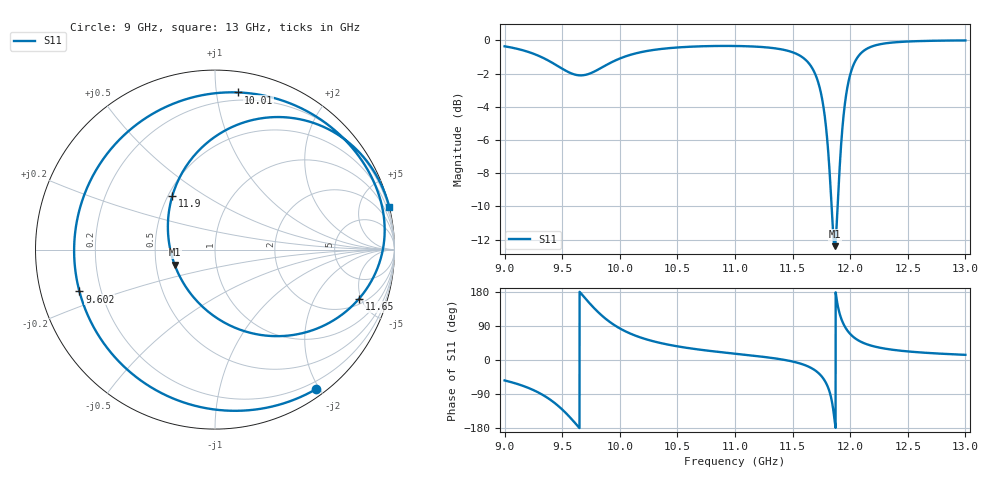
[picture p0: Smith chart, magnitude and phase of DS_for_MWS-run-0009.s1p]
! TOUCHSTONE file generated by CST DESIGN STUDIO
! Date and time: Tue Feb  4 14:18:33 2025
! Project name: C:\Work\MatlabApps\UnitCellOptimizationMatlab\CST\unitcell.cst
! Tree item: Tasks\Sweep1\SPara1\S-Parameters
! Header version: 2024
! Port assignment regex: !\s*Touchstone port\s*([0-9]+)\s*=\s*(CST MWS port|CST DES external port|CST DES block port)\s*(.+)\s* \(\"(.*)\"\)(\s*mode\s*([0-9]+))?.*
! Touchstone port assignment:
! Touchstone port 1 = CST DES external port 1 ("")
# GHz S MA R 50
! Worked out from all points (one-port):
!   4001 points, 9 GHz to 13 GHz, reference 50 ohm
!   lowest |S11| = -12.4 dB at 11.87 GHz (marker M1), VSWR 1.63, Z = 31.2 - j5.55 ohm
!   |S11| at or under -10 dB: 11.83845 GHz to 11.89085 GHz (52.39 MHz wide, 0.442 % of centre)
!   S11 on the Smith chart (normalised r, x): 9 GHz: 0.10, -1.96; 9.602 GHz: 0.12, -0.15; 10.01 GHz: 0.14, +1.15; 11.65 GHz: 2.46, -4.79; 11.9 GHz: 0.53, +0.37; 13 GHz: 0.01, +8.36
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9  0.9601 -53.9
9.164  0.9329 -68.7
9.316  0.8922 -89.5
9.414  0.8564 -108.7
9.5  0.822 -130.6
9.602  0.7906 -162.9
9.699  0.7872 163.0
9.81  0.8165 126.9
9.898  0.8488 103.8
10  0.8821 83.4
10.011  0.8852 81.6
10.223  0.9277 55.2
10.5  0.9524 36.1
11  0.9622 16.6
11.5  0.9212 -4.0
11.648  0.8475 -18.9
11.725  0.7424 -34.5
11.789  0.5527 -59.9
11.827  0.3729 -90.3
11.865  0.2401 -159.6
11.903  0.3824 128.4
11.949  0.6234 90.7
12  0.7889 68.7
12.073  0.8985 51.3
12.167  0.9525 39.3
12.3  0.9794 30.1
12.5  0.9925 22.6
13  0.9998 13.6
